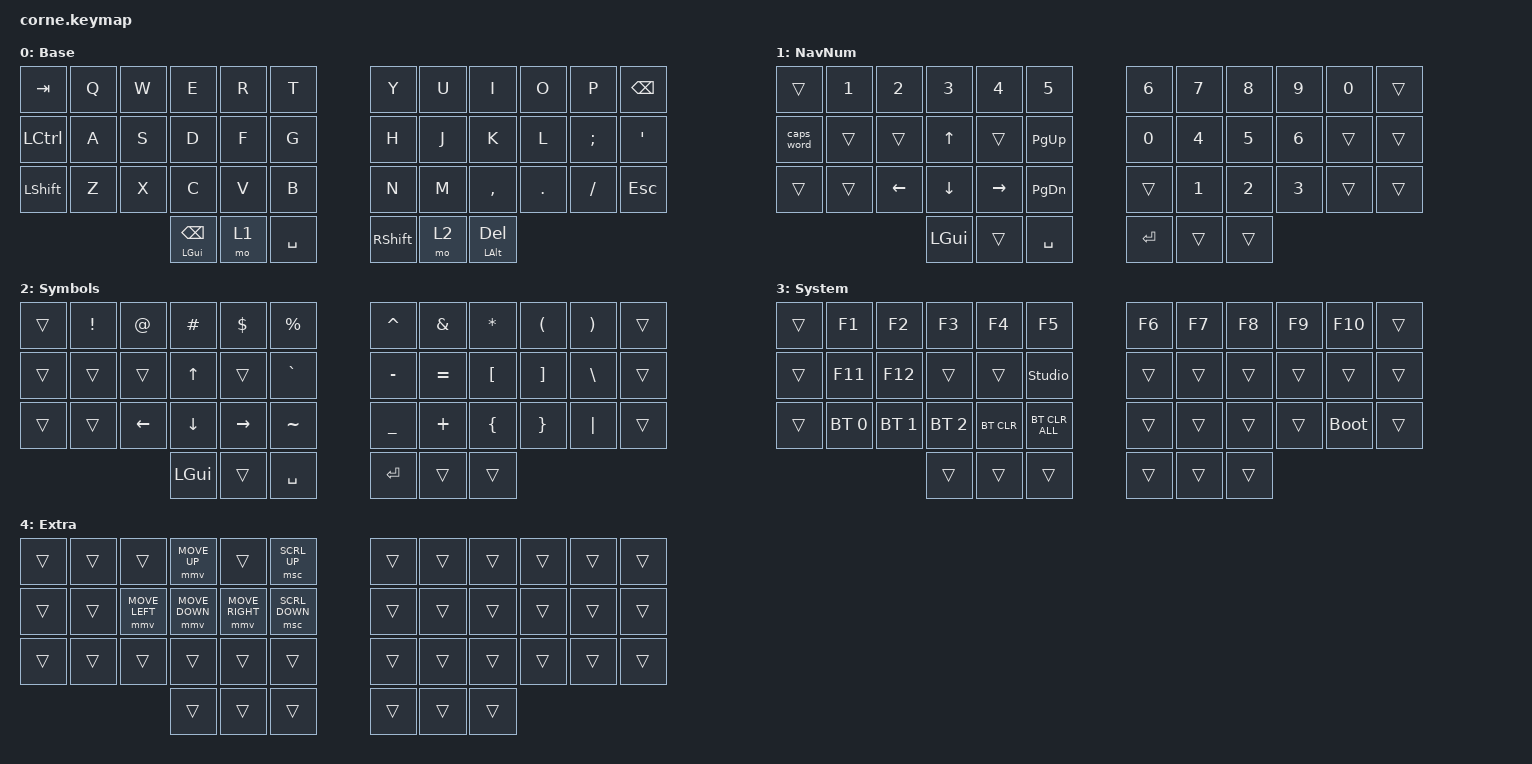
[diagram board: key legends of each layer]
#include <behaviors.dtsi>
#include <dt-bindings/zmk/bt.h>
#include <dt-bindings/zmk/keys.h>
#include <dt-bindings/zmk/pointing.h>

#define DEF 0
#define NAV 1
#define SYM 2
#define ADJ 3
#define EXTRA 4

/ {
    behaviors {
        hm: homerow_mods {
            compatible = "zmk,behavior-hold-tap";
            label = "HOMEROW_MODS";
            #binding-cells = <2>;
            tapping-term-ms = <200>;
            quick_tap_ms = <0>;
            flavor = "tap-preferred";
            bindings = <&kp>, <&kp>;

            quick-tap-ms = <180>;
            global-quick-tap;
        };

        para: para {
            compatible = "zmk,behavior-tap-dance";
            label = "PARA";
            #binding-cells = <0>;
            bindings = <&kp LEFT_PARENTHESIS>, <&kp RIGHT_PARENTHESIS>;
        };

        caps: caps {
            compatible = "zmk,behavior-caps-word";
            label = "CAPS";
            #binding-cells = <0>;
            continue-list = <MINUS BACKSPACE>;
        };

        paraless: paraless {
            compatible = "zmk,behavior-mod-morph";
            label = "PARALESS";
            bindings = <&kp LEFT_PARENTHESIS>, <&kp LESS_THAN>;

            #binding-cells = <0>;
            mods = <(MOD_LSFT)>;
        };

        paragreat: paragreat {
            compatible = "zmk,behavior-mod-morph";
            label = "PARAGREAT";
            bindings = <&kp RIGHT_PARENTHESIS>, <&kp GREATER_THAN>;

            #binding-cells = <0>;
            mods = <(MOD_LSFT)>;
        };
    };

    combos {
        compatible = "zmk,combos";

        jkl_enter {
            bindings = <&kp ENTER>;
            key-positions = <19 20 21>;
        };

        l_curl {
            bindings = <&kp LEFT_BRACE>;
            key-positions = <31 32>;
        };

        r_curl {
            bindings = <&kp RIGHT_BRACE>;
            key-positions = <32 33>;
        };
    };

    //

    keymap {
        compatible = "zmk,keymap";

        DEF {
            display-name = "Base";

            // -----------------------------------------------------------------------------------------
            // |  Q  |  W  |  E  |  R  |  T  |   |  Y  |  U   |  I  |  O  |  P  |
            // |  A  |  S  |  D  |  F  |  G  |   |  H  |  J   |  K  |  L  |  ;  |
            // |  Z  |  X  |  C  |  V  |  B  |   |  N  |  M   |  ,  |  .  |  /  |
            // | GUI | CTRL | SHFT | LWR | SPC |   | ENT | RSE  | BKSP | ALT | ESC |

            bindings = <
&kp TAB           &kp Q  &kp W  &kp E               &kp R  &kp T        &kp Y            &kp U  &kp I                &kp O    &kp P     &kp BACKSPACE
&kp LEFT_CONTROL  &kp A  &kp S  &kp D               &kp F  &kp G        &kp H            &kp J  &kp K                &kp L    &kp SEMI  &kp SQT
&kp LEFT_SHIFT    &kp Z  &kp X  &kp C               &kp V  &kp B        &kp N            &kp M  &kp COMMA            &kp DOT  &kp FSLH  &kp ESCAPE
                                &mt LGUI BACKSPACE  &mo 1  &kp SPACE    &kp RIGHT_SHIFT  &mo 2  &mt LEFT_ALT DELETE
            >;
        };

        NAV {
            display-name = "NavNum";

            // -----------------------------------------------------------------------------------------
            // |  TAB |  1  |  2  |  3  |  4  |  5  |   |  6  |  7  |  8  |  9  |  0  | BKSP |
            // | BTCLR| BT1 | BT2 | BT3 | BT4 | BT5 |   | LFT | DWN |  UP | RGT |     |      |
            // | SHFT |     |     |     |     |     |   |     |     |     |     |     |      |
            // | GUI | CTRL | SHFT | LWR | SPC |   | ENT | RSE  | BKSP | ALT | ESC |

            bindings = <
&trans      &kp N1  &kp N2    &kp N3        &kp N4           &kp N5           &kp N6   &kp N7  &kp N8  &kp N9  &kp N0  &trans
&caps_word  &trans  &trans    &kp UP_ARROW  &trans           &kp PAGE_UP      &kp N0   &kp N4  &kp N5  &kp N6  &trans  &trans
&trans      &trans  &kp LEFT  &kp DOWN      &kp RIGHT_ARROW  &kp PAGE_DOWN    &trans   &kp N1  &kp N2  &kp N3  &trans  &trans
                              &kp LGUI      &trans           &kp SPACE        &kp RET  &trans  &trans
            >;
        };

        SYM {
            display-name = "Symbols";

            // -----------------------------------------------------------------------------------------
            // |  TAB |  !  |  @  |  #  |  $  |  %  |   |  ^  |  &  |  *  |  (  |  )  | BKSP |
            // | CTRL |     |     |     |     |     |   |  -  |  =  |  [  |  ]  |  \  |  `   |
            // | SHFT |     |     |     |     |     |   |  _  |  +  |  {  |  }  | "|" |  ~   |
            //                    | GUI |     | SPC |   | ENT |     | ALT |

            bindings = <
&trans  &kp EXCL  &kp AT          &kp HASH        &kp DLLR         &kp PRCNT    &kp CARET  &kp AMPS   &kp ASTRK  &kp LEFT_PARENTHESIS  &kp RPAR  &trans
&trans  &trans    &trans          &kp UP_ARROW    &trans           &kp GRAVE    &kp MINUS  &kp EQUAL  &kp LBKT   &kp RBKT              &kp BSLH  &trans
&trans  &trans    &kp LEFT_ARROW  &kp DOWN_ARROW  &kp RIGHT_ARROW  &kp TILDE    &kp UNDER  &kp PLUS   &kp LBRC   &kp RBRC              &kp PIPE  &trans
                                  &kp LGUI        &trans           &kp SPACE    &kp RET    &trans     &trans
            >;
        };

        ADJ {
            display-name = "System";
            bindings = <
&trans  &kp F1        &kp F2        &kp F3        &kp F4      &kp F5            &kp F6  &kp F7  &kp F8  &kp F9  &kp F10      &trans
&trans  &kp F11       &kp F12       &trans        &trans      &studio_unlock    &trans  &trans  &trans  &trans  &trans       &trans
&trans  &bt BT_SEL 0  &bt BT_SEL 1  &bt BT_SEL 2  &bt BT_CLR  &bt BT_CLR_ALL    &trans  &trans  &trans  &trans  &bootloader  &trans
                                    &trans        &trans      &trans            &trans  &trans  &trans
            >;
        };

        EXTRA {
            display-name = "Extra";
            bindings = <
&trans  &trans  &trans          &mmv MOVE_UP    &trans           &msc SCRL_UP      &trans  &trans  &trans  &trans  &trans  &trans
&trans  &trans  &mmv MOVE_LEFT  &mmv MOVE_DOWN  &mmv MOVE_RIGHT  &msc SCRL_DOWN    &trans  &trans  &trans  &trans  &trans  &trans
&trans  &trans  &trans          &trans          &trans           &trans            &trans  &trans  &trans  &trans  &trans  &trans
                                &trans          &trans           &trans            &trans  &trans  &trans
            >;
        };
    };

    conditional_layers {
        compatible = "zmk,conditional-layers";

        l3 {
            if-layers = <1 2>;
            then-layer = <3>;
        };
    };
};
